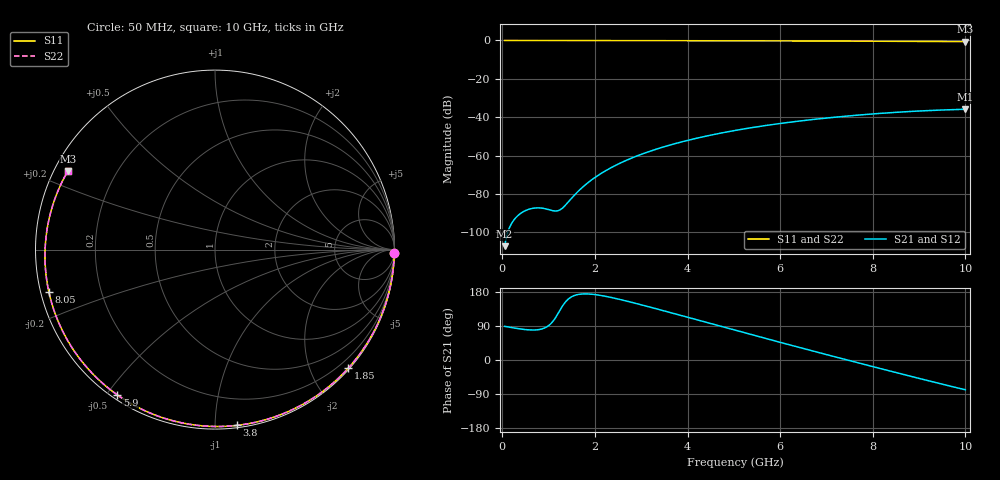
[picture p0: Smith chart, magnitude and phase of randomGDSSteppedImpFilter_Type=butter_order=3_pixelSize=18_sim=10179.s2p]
! freq	dB(S11)	phase(S11)	dB(S12)	phase(S12)
!  dB(S21)	phase(S21)	dB(S22)	phase(S22)
!S-par simulation data
#  GHz  S  DB  R 50
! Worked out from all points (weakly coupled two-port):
!   200 points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, 50 MHz to 10 GHz, reference 50 ohm
!   highest |S21| = -35.89 dB at 10 GHz (marker M1); lowest = -107.3 dB at 50 MHz (marker M2)
!   lowest |S11| = -0.6 dB at 10 GHz (marker M3), VSWR 27.38, Z = 1.94 + j12.5 ohm
!   |S11| at or under -10 dB: nowhere
!   |S22| runs from -0.6 to 0.0 dB; largest |S21 - S12| = 0
!   S11 on the Smith chart (normalised r, x): 50 MHz: open; 1.85 GHz: 0.02, -2.63; 3.8 GHz: 0.01, -1.13; 5.9 GHz: 0.02, -0.53; 8.05 GHz: 0.02, -0.13; 10 GHz: 0.04, +0.25
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0.05  -0.00 -1.1  -107.27 88.9  -107.27 88.9  -0.00 -1.1
0.8  -0.02 -18.3  -87.31 80.5  -87.31 80.5  -0.02 -18.3
1.55  -0.04 -35.1  -80.85 169.9  -80.85 169.9  -0.04 -35.1
1.6  -0.05 -36.2  -79.59 171.8  -79.59 171.8  -0.05 -36.2
1.75  -0.05 -39.5  -76.16 174.4  -76.16 174.4  -0.05 -39.5
1.85  -0.05 -41.7  -74.15 174.3  -74.15 174.3  -0.05 -41.7
2.15  -0.06 -48.2  -69.10 169.9  -69.10 169.9  -0.06 -48.3
2.5  -0.07 -55.8  -64.48 160.9  -64.48 160.9  -0.07 -55.8
2.9  -0.08 -64.3  -60.30 148.8  -60.30 148.8  -0.08 -64.3
3.4  -0.10 -74.7  -56.12 132.7  -56.12 132.7  -0.10 -74.7
3.8  -0.11 -82.8  -53.35 119.5  -53.35 119.5  -0.11 -82.8
4.4  -0.14 -94.8  -49.89 99.6  -49.89 99.6  -0.14 -94.9
5.05  -0.17 -107.6  -46.83 77.9  -46.83 77.9  -0.17 -107.6
5.9  -0.22 -123.9  -43.62 49.9  -43.62 49.9  -0.22 -124.0
6.7  -0.27 -139.2  -41.23 23.9  -41.23 23.9  -0.27 -139.3
7.4  -0.33 -152.8  -39.52 1.5  -39.52 1.5  -0.33 -152.8
8.05  -0.40 -165.7  -38.22 -19.0  -38.22 -19.0  -0.40 -165.7
8.35  -0.43 -171.8  -37.71 -28.4  -37.71 -28.4  -0.43 -171.8
8.8  -0.48 178.8  -37.04 -42.4  -37.04 -42.4  -0.48 178.8
9.2  -0.53 170.2  -36.56 -54.7  -36.56 -54.7  -0.53 170.1
9.6  -0.58 161.2  -36.17 -66.8  -36.17 -66.8  -0.58 161.2
10  -0.63 151.9  -35.89 -78.6  -35.89 -78.6  -0.63 151.8
